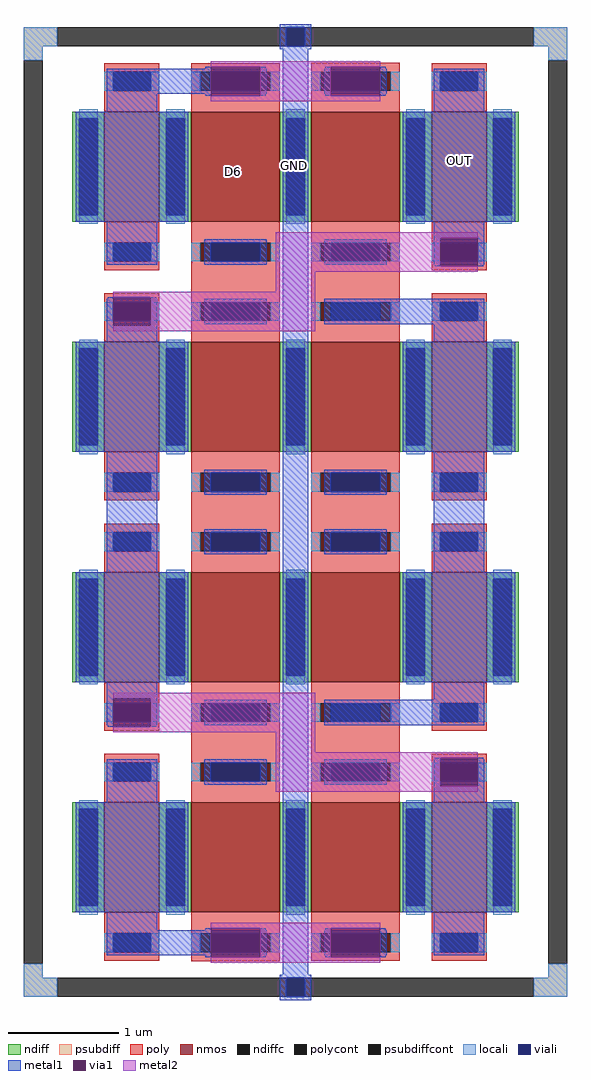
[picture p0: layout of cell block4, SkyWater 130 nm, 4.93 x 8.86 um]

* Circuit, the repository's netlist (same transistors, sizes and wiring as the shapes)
** sch_path: /home/mtfirmansyah/ic_projects/opamp/block4/lvs/block4.sch
.subckt block4 GND D6 OUT
*.PININFO GND:B D6:B OUT:B
XM8 D6 D6 GND GND sky130_fd_pr__nfet_01v8 L=0.8 W=1 nf=1 m=4
XM9 OUT D6 GND GND sky130_fd_pr__nfet_01v8 L=0.8 W=1 nf=1 m=4
XM1 D6 D6 D6 GND sky130_fd_pr__nfet_01v8 L=0.5 W=1 nf=1 m=4
XM2 OUT OUT OUT GND sky130_fd_pr__nfet_01v8 L=0.5 W=1 nf=1 m=4
.ends
.end

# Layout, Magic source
magic
tech sky130A
magscale 1 2
<< psubdiff >>
rect -246 1661 -186 1695
rect 680 1661 740 1695
rect -246 1635 -212 1661
rect 706 1635 740 1661
rect -246 -31 -212 -5
rect 706 -31 740 -5
rect -246 -65 -186 -31
rect 680 -65 740 -31
<< psubdiffcont >>
rect -186 1661 680 1695
rect -246 -5 -212 1635
rect 706 -5 740 1635
rect -186 -65 680 -31
<< poly >>
rect 58 -1 218 1630
rect 276 0 436 1631
<< locali >>
rect -246 1661 -186 1695
rect 680 1661 740 1695
rect -246 1635 -212 1661
rect -246 -31 -212 -5
rect 706 1635 740 1661
rect 706 -31 740 -5
rect -246 -65 -186 -31
rect 680 -65 740 -31
<< viali >>
rect 230 1661 264 1695
rect 230 -65 264 -31
<< metal1 >>
rect 218 1695 276 1701
rect 218 1661 230 1695
rect 264 1661 276 1695
rect 218 1655 276 1661
rect 83 1620 93 1623
rect -96 1574 93 1620
rect -96 1542 -4 1574
rect 83 1571 93 1574
rect 183 1620 193 1623
rect 183 1574 195 1620
rect 183 1571 193 1574
rect -152 1342 52 1542
rect -96 1264 -4 1342
rect -94 1202 -84 1205
rect -96 1153 -84 1202
rect -16 1202 -6 1205
rect -16 1153 -4 1202
rect -96 1124 -4 1153
rect -152 924 52 1124
rect -96 706 -4 924
rect -152 506 52 706
rect -96 477 -4 506
rect -96 429 -84 477
rect -94 425 -84 429
rect -16 429 -4 477
rect -16 425 -6 429
rect -96 288 -4 366
rect -152 88 52 288
rect -96 56 -4 88
rect 83 56 93 59
rect -96 10 93 56
rect 83 7 93 10
rect 183 56 193 59
rect 183 10 195 56
rect 183 7 193 10
rect 224 -25 270 1655
rect 301 1571 311 1623
rect 401 1571 411 1623
rect 498 1542 590 1620
rect 442 1342 646 1542
rect 498 1313 590 1342
rect 498 1264 510 1313
rect 500 1261 510 1264
rect 578 1264 590 1313
rect 578 1261 588 1264
rect 299 1156 590 1202
rect 498 1124 590 1156
rect 442 924 646 1124
rect 498 706 590 924
rect 442 506 646 706
rect 498 474 590 506
rect 299 428 590 474
rect 500 366 510 369
rect 498 317 510 366
rect 578 366 588 369
rect 578 317 590 366
rect 498 288 590 317
rect 442 88 646 288
rect 301 7 311 59
rect 401 7 411 59
rect 498 10 590 88
rect 218 -31 276 -25
rect 218 -65 230 -31
rect 264 -65 276 -31
rect 218 -71 276 -65
<< via1 >>
rect 93 1571 183 1623
rect -84 1153 -16 1205
rect -84 425 -16 477
rect 93 7 183 59
rect 311 1571 401 1623
rect 510 1261 578 1313
rect 510 317 578 369
rect 311 7 401 59
<< metal2 >>
rect 93 1623 401 1633
rect 183 1571 311 1623
rect 93 1561 401 1571
rect 211 1313 578 1323
rect 211 1261 510 1313
rect 211 1251 578 1261
rect 211 1215 283 1251
rect -84 1205 283 1215
rect -16 1153 283 1205
rect -84 1143 283 1153
rect -84 477 283 487
rect -16 425 283 477
rect -84 415 283 425
rect 211 379 283 415
rect 211 369 578 379
rect 211 317 510 369
rect 211 307 578 317
rect 93 59 401 69
rect 183 7 311 59
rect 93 -3 401 7
use sky130_fd_pr__nfet_01v8_FZ7FED  sky130_fd_pr__nfet_01v8_FZ7FED_0
transform 1 0 247 0 1 815
box -247 -815 247 815
use sky130_fd_pr__nfet_01v8_V6EN4H  sky130_fd_pr__nfet_01v8_V6EN4H_0
transform 1 0 -50 0 1 815
box -108 -815 108 815
use sky130_fd_pr__nfet_01v8_V6EN4H  sky130_fd_pr__nfet_01v8_V6EN4H_1
transform 1 0 544 0 1 815
box -108 -815 108 815
<< labels >>
flabel poly 134 1434 134 1434 0 FreeSans 160 0 0 0 D6
port 0 nsew
flabel metal1 544 1454 544 1454 0 FreeSans 160 0 0 0 OUT
port 1 nsew
flabel metal1 246 1444 246 1444 0 FreeSans 160 0 0 0 GND
port 3 nsew
<< end >>

# cell sky130_fd_pr__nfet_01v8_FZ7FED: kit device sky130_fd_pr__nfet_01v8, w 1 l 0.8 m 4 nf 2 diffcov 100 polycov 100 guard 0 glc 1 grc 1 gtc 1 gbc 1 tbcov 100 rlcov 100 topc 1 botc 1 poverlap 0 doverlap 1 lmin 0.15 wmin 0.42 compatible {sky130_fd_pr__nfet_01v8 sky130_fd_pr__nfet_01v8_lvt sky130_fd_bs_flash__special_sonosfet_star sky130_fd_pr__nfet_g5v0d10v5 sky130_fd_pr__nfet_05v0_nvt sky130_fd_pr__nfet_03v3_nvt} full_metal 1 viasrc 100 viadrn 100 viagate 70 viagb 0 viagr 0 viagl 0 viagt 0

# cell sky130_fd_pr__nfet_01v8_V6EN4H: kit device sky130_fd_pr__nfet_01v8, w 1 l 0.50 m 4 nf 1 diffcov 100 polycov 100 guard 0 glc 1 grc 1 gtc 1 gbc 1 tbcov 100 rlcov 100 topc 1 botc 1 poverlap 0 doverlap 1 lmin 0.15 wmin 0.42 compatible {sky130_fd_pr__nfet_01v8 sky130_fd_pr__nfet_01v8_lvt sky130_fd_bs_flash__special_sonosfet_star sky130_fd_pr__nfet_g5v0d10v5 sky130_fd_pr__nfet_05v0_nvt sky130_fd_pr__nfet_03v3_nvt} full_metal 1 viasrc 100 viadrn 100 viagate 100 viagb 0 viagr 0 viagl 0 viagt 0
